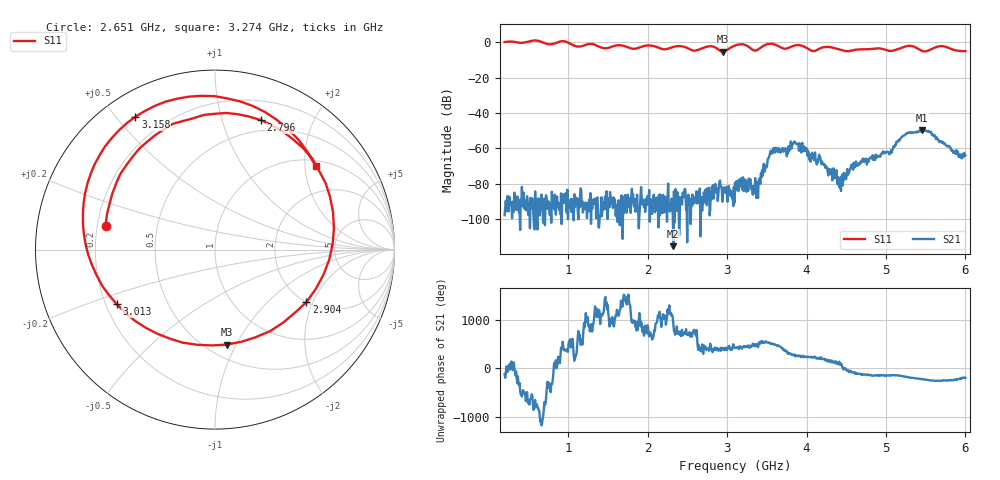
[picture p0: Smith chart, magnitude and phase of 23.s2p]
! NanoVNA-App
! Date: 2024-06-25 16:11:32
! Start: 200MHz Stop: 6GHz Points: 801
! S-Parameter data: F S11 S21 S12 S22
# Hz S RI R 50
!  Frequency  S11_Real  S11_Imag  S21_Real  S21_Imag  S12_Real  S12_Imag  S22_Real  S22_Imag
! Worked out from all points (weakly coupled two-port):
!   801 points, 200 MHz to 6 GHz, reference 50 ohm
!   highest |S21| = -49.58 dB at 5.456 GHz (marker M1); lowest = -115.2 dB at 2.324 GHz (marker M2)
!   lowest |S11| = -5.5 dB at 2.948 GHz (marker M3), VSWR 3.29, Z = 31.1 - j45.9 ohm
!   |S11| at or under -10 dB: nowhere
!   S12 and S22 are empty: the file has one direction only
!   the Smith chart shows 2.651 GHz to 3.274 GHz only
!   S11 on the Smith chart (normalised r, x): 2.651 GHz: 0.23, +0.10; 2.796 GHz: 0.39, +1.35; 2.904 GHz: 2.00, -1.79; 3.013 GHz: 0.24, -0.24; 3.158 GHz: 0.10, +0.56; 3.274 GHz: 1.15, +2.28
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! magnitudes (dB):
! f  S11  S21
! 200 MHz  0.0  -97.8
! 1.171 GHz  -2.3  -92.4
! 2.136 GHz  -3.1  -104.6
! 2.324 GHz  -2.7  -115.2
! 2.651 GHz  -4.1  -84.6
! 2.796 GHz  -2.3  -84.6
! 2.904 GHz  -4.6  -78.8
! 2.948 GHz  -5.5  -86.5
! 3.013 GHz  -4.1  -83.6
! 3.1 GHz  -1.9  -79.4
! 3.158 GHz  -1.3  -81.8
! 3.274 GHz  -2.7  -77.0
! 3.39 GHz  -4.2  -88.0
! 3.593 GHz  -1.2  -60.4
! 3.869 GHz  -1.7  -57.3
! 4.072 GHz  -5.0  -62.5
! 4.434 GHz  -4.5  -84.1
! 4.593 GHz  -4.5  -68.1
! 5.036 GHz  -4.9  -62.5
! 5.246 GHz  -2.4  -52.1
! 5.456 GHz  -5.0  -49.6
! 6 GHz  -5.1  -64.0
